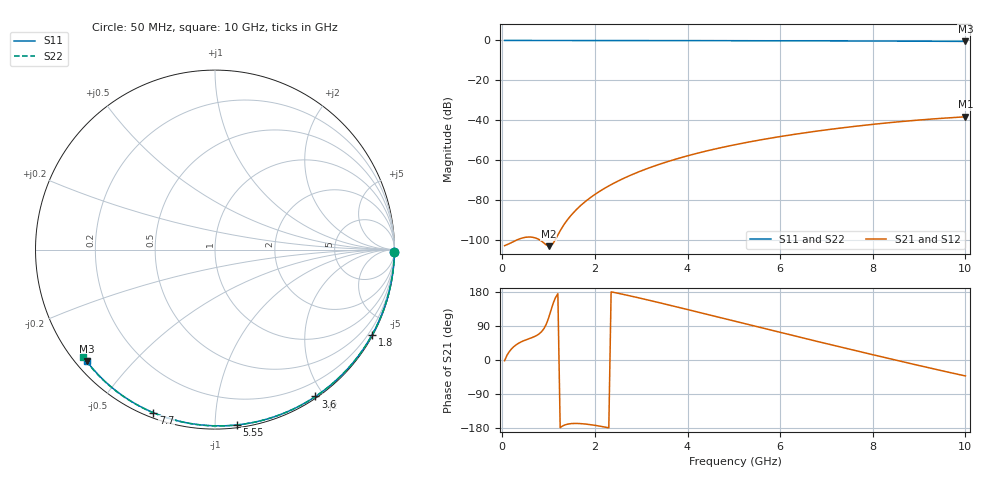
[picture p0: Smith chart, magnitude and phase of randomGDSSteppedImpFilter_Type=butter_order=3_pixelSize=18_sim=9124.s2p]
! freq	dB(S11)	phase(S11)	dB(S12)	phase(S12)
!  dB(S21)	phase(S21)	dB(S22)	phase(S22)
!S-par simulation data
#  GHz  S  DB  R 50
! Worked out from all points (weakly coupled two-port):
!   200 points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, 50 MHz to 10 GHz, reference 50 ohm
!   highest |S21| = -38.21 dB at 10 GHz (marker M1); lowest = -102.9 dB at 1 GHz (marker M2)
!   lowest |S11| = -0.5 dB at 10 GHz (marker M3), VSWR 36.99, Z = 1.54 - j18.7 ohm
!   |S11| at or under -10 dB: nowhere
!   |S22| runs from -0.5 to 0.0 dB; largest |S21 - S12| = 0
!   S11 on the Smith chart (normalised r, x): 50 MHz: open; 1.8 GHz: 0.03, -3.94; 3.6 GHz: 0.02, -1.90; 5.55 GHz: 0.02, -1.13; 7.7 GHz: 0.02, -0.69; 10 GHz: 0.03, -0.37
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0.05  -0.00 -0.8  -102.69 -2.0  -102.69 -2.0  -0.00 -0.8
0.5  -0.01 -8.0  -98.52 52.7  -98.52 52.7  -0.01 -8.1
1  -0.02 -16.0  -102.95 110.9  -102.95 110.9  -0.02 -16.2
1.75  -0.04 -27.7  -81.44 -168.5  -81.44 -168.5  -0.04 -28.1
1.8  -0.04 -28.5  -80.48 -169.1  -80.48 -169.1  -0.04 -28.9
1.85  -0.04 -29.3  -79.57 -169.8  -79.57 -169.8  -0.04 -29.7
2.05  -0.04 -32.3  -76.27 -173.4  -76.27 -173.4  -0.04 -32.8
2.25  -0.05 -35.4  -73.43 -177.8  -73.43 -177.8  -0.05 -35.9
2.55  -0.05 -40.0  -69.78 174.8  -69.78 174.8  -0.05 -40.6
2.95  -0.06 -46.0  -65.71 163.9  -65.71 163.9  -0.06 -46.7
3.4  -0.07 -52.7  -61.91 151.0  -61.91 151.0  -0.07 -53.5
3.6  -0.07 -55.6  -60.42 145.1  -60.42 145.1  -0.08 -56.4
3.9  -0.08 -60.0  -58.37 136.1  -58.37 136.1  -0.08 -60.9
4.3  -0.09 -65.7  -55.93 124.1  -55.93 124.1  -0.09 -66.7
5.05  -0.12 -76.2  -52.05 101.4  -52.05 101.4  -0.12 -77.3
5.55  -0.14 -83.0  -49.86 86.3  -49.86 86.3  -0.14 -84.1
6.1  -0.16 -90.3  -47.73 69.8  -47.73 69.8  -0.16 -91.5
6.7  -0.19 -98.1  -45.67 52.0  -45.67 52.0  -0.19 -99.5
7.7  -0.25 -110.8  -42.75 22.7  -42.75 22.7  -0.26 -112.3
8.35  -0.30 -118.8  -41.16 3.9  -41.16 3.9  -0.31 -120.4
9.2  -0.38 -129.2  -39.45 -20.2  -39.45 -20.2  -0.38 -130.9
10  -0.47 -138.9  -38.21 -42.1  -38.21 -42.1  -0.47 -140.7
